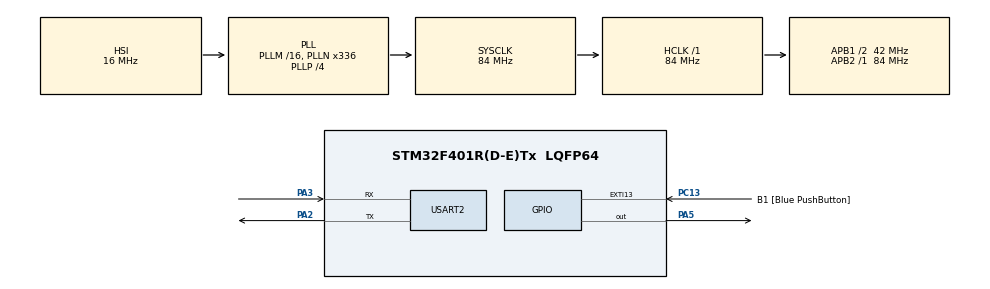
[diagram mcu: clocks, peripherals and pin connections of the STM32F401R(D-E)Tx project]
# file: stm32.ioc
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Mcu.Family=STM32F4
Mcu.Name=STM32F401R(D-E)Tx
Mcu.Package=LQFP64
NVIC.PriorityGroup=NVIC_PRIORITYGROUP_0
NVIC.USART2_IRQn=true\:0\:0\:false\:false\:true\:true\:true\:true
PA13.GPIO_Label=TMS
PA13.Mode=Serial_Wire
PA13.Signal=SYS_JTMS-SWDIO
PA14.GPIO_Label=TCK
PA14.Mode=Serial_Wire
PA14.Signal=SYS_JTCK-SWCLK
PA2.Mode=Asynchronous
PA2.Signal=USART2_TX
PA3.Mode=Asynchronous
PA3.Signal=USART2_RX
PA5.Signal=GPIO_Output
PB3.GPIO_Label=SWO
PB3.Signal=SYS_JTDO-SWO
PC13-ANTI_TAMP.GPIO_Label=B1 [Blue PushButton]
PC13-ANTI_TAMP.GPIO_ModeDefaultEXTI=GPIO_MODE_IT_FALLING
PC13-ANTI_TAMP.GPIO_PuPd=GPIO_NOPULL
PC13-ANTI_TAMP.Signal=GPXTI13
PC14-OSC32_IN.Mode=LSE-External-Oscillator
PC14-OSC32_IN.Signal=RCC_OSC32_IN
PC15-OSC32_OUT.Mode=LSE-External-Oscillator
PC15-OSC32_OUT.Signal=RCC_OSC32_OUT
PH0\ -\ OSC_IN.Mode=HSE-External-Clock-Source
PH0\ -\ OSC_IN.Signal=RCC_OSC_IN
PH1\ -\ OSC_OUT.Mode=HSE-External-Clock-Source
PH1\ -\ OSC_OUT.Signal=RCC_OSC_OUT
ProjectManager.HeapSize=0x200
ProjectManager.StackSize=0x400
ProjectManager.TargetToolchain=STM32CubeIDE
RCC.48MHZClocksFreq_Value=48000000
RCC.AHBFreq_Value=84000000
RCC.APB1CLKDivider=RCC_HCLK_DIV2
RCC.APB1Freq_Value=42000000
RCC.APB1TimFreq_Value=84000000
RCC.APB2Freq_Value=84000000
RCC.APB2TimFreq_Value=84000000
RCC.CortexFreq_Value=84000000
RCC.HCLKFreq_Value=84000000
RCC.HSE_VALUE=8000000
RCC.HSI_VALUE=16000000
RCC.PLLN=336
RCC.PLLP=RCC_PLLP_DIV4
RCC.PLLQ=7
RCC.SYSCLKFreq_VALUE=84000000
RCC.SYSCLKSource=RCC_SYSCLKSOURCE_PLLCLK
RCC.VCOOutputFreq_Value=336000000
USART2.VirtualMode=VM_ASYNC
board=NUCLEO-F401RE

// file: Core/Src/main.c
/* USER CODE BEGIN Header */
/**
  ******************************************************************************
  * @file           : main.c
  * @brief          : Main program body
  ******************************************************************************
  * @attention
  *
  * Copyright (c) 2023 STMicroelectronics.
  * All rights reserved.
  *
  * This software is licensed under terms that can be found in the LICENSE file
  * in the root directory of this software component.
  * If no LICENSE file comes with this software, it is provided AS-IS.
  *
  ******************************************************************************
  */
/* USER CODE END Header */
#include "main.h"

/* USER CODE BEGIN Includes */
#include <stdio.h>
#include <stdlib.h>
#include <float.h>
#include <string.h>
/* USER CODE END Includes */

UART_HandleTypeDef huart2;

/* USER CODE BEGIN PV */
uint8_t tx_buffer[27] = "Hi this is a test\n\r";
uint8_t tx6_buffer[81500] = "Hi afsfsafasa test\n\r";

void call_buffer(){
	  //a[0]++;
	  HAL_UART_Transmit(&huart2, tx6_buffer, 100, 10);
}

uint8_t rx_indx;
uint8_t rx_data[12];
uint8_t transfer_cplt;
char buffer[16];

/* USER CODE END PV */

void SystemClock_Config(void);
static void MX_GPIO_Init(void);
static void MX_USART2_UART_Init(void);

int main(void)
{

  /* MCU Configuration--------------------------------------------------------*/

  /* Reset of all peripherals, Initializes the Flash interface and the Systick. */
  HAL_Init();

  /* Configure the system clock */
  SystemClock_Config();

  /* Initialize all configured peripherals */
  MX_GPIO_Init();
  MX_USART2_UART_Init();
  /* USER CODE BEGIN 2 */

  //HAL_UART_Receive_IT(&huart2, rx_data, 12);

  /* USER CODE END 2 */

  /* Infinite loop */
  /* USER CODE BEGIN WHILE */
  int* ptr;

 // Get the number of elements for the array

 // Dynamically allocate memory using malloc()
  size_t Size = 256 * 1024 * 1024;
  ptr = malloc(Size);
  if (ptr != NULL) {
    memset(ptr, 123, Size);
  }

 // Check if the memory has been successfully
 // allocated by malloc or not
 uint8_t s_buffer[8] = "nah";
 uint8_t x_buffer[8] = "yeah";

 if (ptr == NULL) {
	  HAL_UART_Transmit(&huart2, s_buffer, 8, 10);

 }
 else {
	  HAL_UART_Transmit(&huart2, x_buffer, 8, 10);

 }

  while (1)
  {
    /* USER CODE END WHILE */
	  //HAL_GPIO_TogglePin (GPIOA, GPIO_PIN_5);
	  HAL_GPIO_TogglePin (GPIOA, GPIO_PIN_5);
 	  //HAL_UART_Transmit(&huart2, tx_buffer, 27, 10);

	  call_buffer();

	  //HAL_UART_Transmit(&huart2, tx_buffer, 27, 10);
	  HAL_Delay(1000);
//    /* USER CODE BEGIN 3 */
  }
  /* USER CODE END 3 */
}

void SystemClock_Config(void)
{
  RCC_OscInitTypeDef RCC_OscInitStruct = {0};
  RCC_ClkInitTypeDef RCC_ClkInitStruct = {0};

  /** Configure the main internal regulator output voltage
  */
  __HAL_RCC_PWR_CLK_ENABLE();
  __HAL_PWR_VOLTAGESCALING_CONFIG(PWR_REGULATOR_VOLTAGE_SCALE2);

  /** Initializes the RCC Oscillators according to the specified parameters
  * in the RCC_OscInitTypeDef structure.
  */
  RCC_OscInitStruct.OscillatorType = RCC_OSCILLATORTYPE_HSI;
  RCC_OscInitStruct.HSIState = RCC_HSI_ON;
  RCC_OscInitStruct.HSICalibrationValue = RCC_HSICALIBRATION_DEFAULT;
  RCC_OscInitStruct.PLL.PLLState = RCC_PLL_ON;
  RCC_OscInitStruct.PLL.PLLSource = RCC_PLLSOURCE_HSI;
  RCC_OscInitStruct.PLL.PLLM = 16;
  RCC_OscInitStruct.PLL.PLLN = 336;
  RCC_OscInitStruct.PLL.PLLP = RCC_PLLP_DIV4;
  RCC_OscInitStruct.PLL.PLLQ = 7;
  if (HAL_RCC_OscConfig(&RCC_OscInitStruct) != HAL_OK)
  {
    Error_Handler();
  }

  /** Initializes the CPU, AHB and APB buses clocks
  */
  RCC_ClkInitStruct.ClockType = RCC_CLOCKTYPE_HCLK|RCC_CLOCKTYPE_SYSCLK
                              |RCC_CLOCKTYPE_PCLK1|RCC_CLOCKTYPE_PCLK2;
  RCC_ClkInitStruct.SYSCLKSource = RCC_SYSCLKSOURCE_PLLCLK;
  RCC_ClkInitStruct.AHBCLKDivider = RCC_SYSCLK_DIV1;
  RCC_ClkInitStruct.APB1CLKDivider = RCC_HCLK_DIV2;
  RCC_ClkInitStruct.APB2CLKDivider = RCC_HCLK_DIV1;

  if (HAL_RCC_ClockConfig(&RCC_ClkInitStruct, FLASH_LATENCY_2) != HAL_OK)
  {
    Error_Handler();
  }
}

static void MX_USART2_UART_Init(void)
{

  huart2.Instance = USART2;
  huart2.Init.BaudRate = 115200;
  huart2.Init.WordLength = UART_WORDLENGTH_8B;
  huart2.Init.StopBits = UART_STOPBITS_1;
  huart2.Init.Parity = UART_PARITY_NONE;
  huart2.Init.Mode = UART_MODE_TX_RX;
  huart2.Init.HwFlowCtl = UART_HWCONTROL_NONE;
  huart2.Init.OverSampling = UART_OVERSAMPLING_16;
  if (HAL_UART_Init(&huart2) != HAL_OK)
  {
    Error_Handler();
  }

}

static void MX_GPIO_Init(void)
{
  GPIO_InitTypeDef GPIO_InitStruct = {0};

  /* GPIO Ports Clock Enable */
  __HAL_RCC_GPIOC_CLK_ENABLE();
  __HAL_RCC_GPIOH_CLK_ENABLE();
  __HAL_RCC_GPIOA_CLK_ENABLE();
  __HAL_RCC_GPIOB_CLK_ENABLE();

  /*Configure GPIO pin Output Level */
  HAL_GPIO_WritePin(GPIOA, GPIO_PIN_5, GPIO_PIN_RESET);

  /*Configure GPIO pin : B1_Pin */
  GPIO_InitStruct.Pin = B1_Pin;
  GPIO_InitStruct.Mode = GPIO_MODE_IT_FALLING;
  GPIO_InitStruct.Pull = GPIO_NOPULL;
  HAL_GPIO_Init(B1_GPIO_Port, &GPIO_InitStruct);

  /*Configure GPIO pin : PA5 */
  GPIO_InitStruct.Pin = GPIO_PIN_5;
  GPIO_InitStruct.Mode = GPIO_MODE_OUTPUT_PP;
  GPIO_InitStruct.Pull = GPIO_NOPULL;
  GPIO_InitStruct.Speed = GPIO_SPEED_FREQ_LOW;
  HAL_GPIO_Init(GPIOA, &GPIO_InitStruct);

}

/* USER CODE BEGIN 4 */

void HAL_UART_RxCpltCallback(UART_HandleTypeDef *huart)
{
	UNUSED(huart);
    if(huart->Instance == USART2)
    {
        HAL_UART_Transmit(&huart2, rx_data, 12, 10);
        HAL_UART_Receive_IT(&huart2, rx_data, 12);
    }
}

/* USER CODE END 4 */

void Error_Handler(void)
{
  __disable_irq();
  while (1)
  {
  }
}
